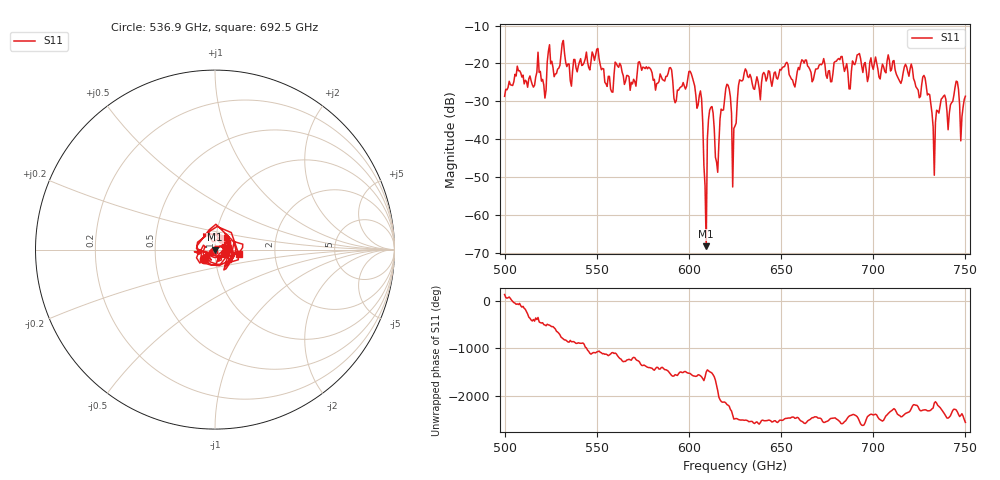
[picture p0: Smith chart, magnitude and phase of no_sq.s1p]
!Created with skrf (http://scikit-rf.org).
# GHz S MA R 50.0
!freq magS11 angS11
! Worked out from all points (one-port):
!   401 points, 500 GHz to 750 GHz, reference 50 ohm
!   lowest |S11| = -68.3 dB at 609.4 GHz (marker M1), VSWR 1.00, Z = 50 - j0.0329 ohm
!   |S11| at or under -10 dB: start of sweep to end of sweep
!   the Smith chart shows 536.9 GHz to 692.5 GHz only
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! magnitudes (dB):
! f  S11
! 500 GHz  -28.7
! 507.5 GHz  -21.9
! 521.2 GHz  -25.6
! 531.2 GHz  -14.7
! 535.6 GHz  -24.5
! 550 GHz  -16.2
! 557.5 GHz  -26.8
! 562.5 GHz  -20.0
! 589.4 GHz  -21.2
! 593.8 GHz  -27.0
! 601.9 GHz  -23.7
! 606.2 GHz  -27.3
! 608.1 GHz  -46.9
! 609.4 GHz  -68.3
! 611.9 GHz  -31.6
! 615 GHz  -46.1
! 620.6 GHz  -25.5
! 625 GHz  -36.5
! 630 GHz  -22.5
! 656.2 GHz  -24.4
! 662.5 GHz  -19.9
! 687.5 GHz  -26.7
! 691.9 GHz  -17.6
! 718.8 GHz  -22.3
! 728.1 GHz  -23.9
! 733.1 GHz  -49.5
! 738.1 GHz  -28.6
! 750 GHz  -28.7
